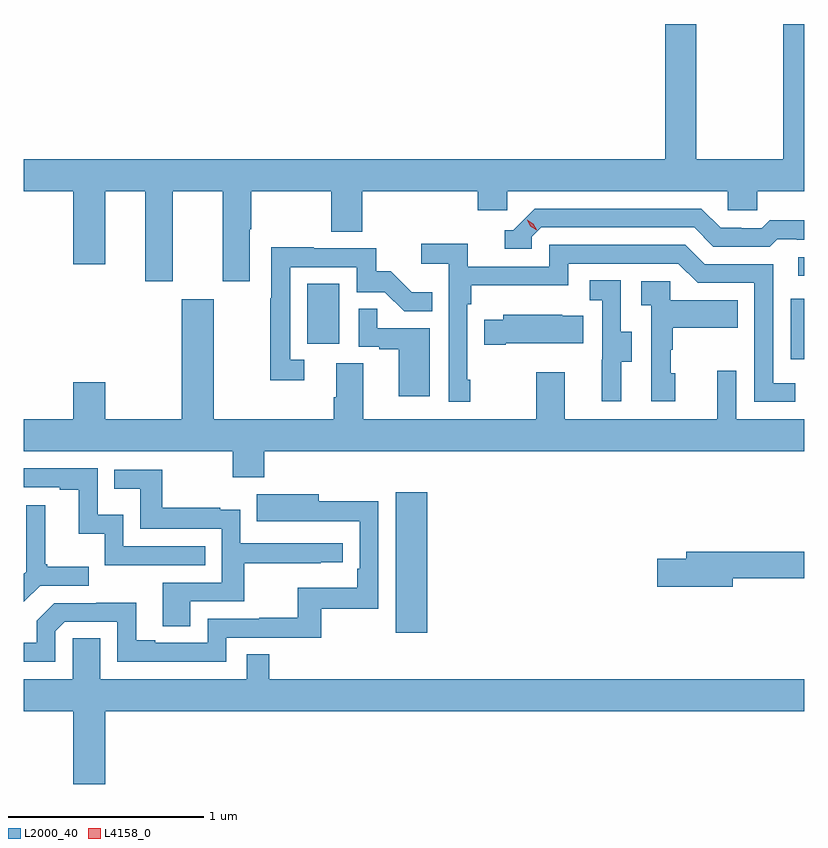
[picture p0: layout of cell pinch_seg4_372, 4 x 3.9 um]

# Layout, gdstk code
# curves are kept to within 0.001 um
import gdstk
lib = gdstk.Library(unit=1e-6, precision=1e-09)
def R(c, l, rs):  # rectangles x0, y0, x1, y1
    for r in rs: c.add(gdstk.rectangle(r[:2], r[2:], *l))
def P(c, l, *ps):  # polygons
    for p in ps: c.add(gdstk.Polygon(p, *l))
L2000_40 = (2000, 40)
L4158_0 = (4158, 0)

pinch_seg4_372 = lib.new_cell('pinch_seg4_372')
R(pinch_seg4_372, L2000_40, [(969.857,767.916,970.018,768.637), (971.88,769.32,971.95,769.63), (969.404,769.398,969.568,769.705), (971.919,769.746,971.95,769.842)])
P(pinch_seg4_372, L2000_40, [(968.713,770.18),(968.969,770.18),(968.969,769.719),(969.109,769.719),(969.109,769.984),(969.117,769.984),(969.117,770.18),(969.526,770.18),(969.526,769.972),(969.686,769.972),(969.686,770.18),(970.277,770.18),(970.277,770.082),(970.428,770.082),(970.428,770.18),(971.559,770.18),(971.559,770.082),(971.709,770.082),(971.709,770.18),(971.95,770.18),(971.95,771.037),(971.842,771.037),(971.842,770.344),(971.397,770.344),(971.397,771.037),(971.237,771.037),(971.237,770.344),(967.95,770.344),(967.95,770.18),(968.204,770.18),(968.204,769.806),(968.368,769.806),(968.368,770.18),(968.573,770.18),(968.573,769.719),(968.713,769.719)],
  [(970.554,769.947),(970.602,769.995),(971.385,769.995),(971.484,769.896),(971.773,769.896),(971.812,769.935),(971.911,769.935),(971.911,769.932),(971.95,769.932),(971.95,770.032),(971.773,770.032),(971.731,769.989),(971.628,769.989),(971.628,769.992),(971.521,769.992),(971.422,770.091),(970.569,770.091),(970.458,769.98),(970.415,769.98),(970.415,769.884),(970.554,769.884)],
  [(970.237,769.213),(970.224,769.213),(970.224,769.601),(970.244,769.601),(970.244,769.697),(970.74,769.697),(970.74,769.809),(971.304,769.809),(971.403,769.71),(971.694,769.71),(971.694,769.101),(971.903,769.101),(971.903,769.197),(971.79,769.197),(971.79,769.806),(971.44,769.806),(971.341,769.905),(970.644,769.905),(970.644,769.794),(970.226,769.794),(970.226,769.91),(969.987,769.91),(969.987,769.808),(970.128,769.808),(970.128,769.101),(970.237,769.101)],
  [(969.388,769.317),(969.315,769.317),(969.315,769.791),(969.657,769.791),(969.657,769.662),(969.801,769.662),(969.899,769.564),(970.043,769.564),(970.043,769.663),(969.939,769.663),(969.832,769.77),(969.756,769.77),(969.756,769.887),(969.437,769.887),(969.437,769.892),(969.219,769.892),(969.219,769.631),(969.214,769.631),(969.214,769.212),(969.388,769.212)],
  [(971.011,769.306),(971.065,769.306),(971.065,769.461),(971.01,769.461),(971.01,769.724),(970.851,769.724),(970.851,769.621),(970.914,769.621),(970.914,769.317),(970.913,769.317),(970.913,769.104),(971.011,769.104)],
  [(971.29,769.248),(971.265,769.248),(971.265,769.367),(971.275,769.367),(971.275,769.481),(971.609,769.481),(971.609,769.621),(971.262,769.621),(971.262,769.719),(971.115,769.719),(971.115,769.595),(971.166,769.595),(971.166,769.104),(971.29,769.104)],
  [(969.182,768.848),(971.95,768.848),(971.95,769.012),(971.601,769.012),(971.601,769.261),(971.504,769.261),(971.504,769.012),(970.723,769.012),(970.723,769.252),(970.576,769.252),(970.576,769.012),(969.691,769.012),(969.691,769.298),(969.551,769.298),(969.551,769.124),(969.539,769.124),(969.539,769.012),(968.923,769.012),(968.923,769.627),(968.759,769.627),(968.759,769.012),(968.368,769.012),(968.368,769.201),(968.204,769.201),(968.204,769.012),(967.95,769.012),(967.95,768.848),(969.022,768.848),(969.022,768.713),(969.182,768.713)],
  [(970.03,769.479),(969.761,769.479),(969.761,769.577),(969.666,769.577),(969.666,769.383),(969.773,769.383),(969.773,769.371),(969.872,769.371),(969.872,769.128),(970.03,769.128)],
  [(970.42,769.4),(970.817,769.4),(970.817,769.543),(970.709,769.543),(970.709,769.546),(970.407,769.546),(970.407,769.522),(970.309,769.522),(970.309,769.393),(970.42,769.393)],
  [(968.879,768.36),(968.46,768.36),(968.46,768.523),(968.328,768.523),(968.328,768.759),(967.95,768.759),(967.95,768.663),(968.135,768.663),(968.135,768.651),(968.231,768.651),(968.231,768.425),(968.364,768.425),(968.364,768.264),(968.879,768.264)],
  [(968.803,768.078),(969.08,768.078),(969.08,768.274),(969.473,768.274),(969.473,768.279),(969.586,768.279),(969.586,768.375),(969.06,768.375),(969.06,768.547),(968.957,768.547),(968.957,768.559),(968.659,768.559),(968.659,768.753),(968.413,768.753),(968.413,768.656),(968.548,768.656),(968.548,768.45),(968.964,768.45),(968.964,768.174),(968.663,768.174),(968.663,767.95),(968.803,767.95)],
  [(968.112,767.925),(968.16,767.973),(968.43,767.973),(968.43,767.769),(968.988,767.769),(968.988,767.892),(969.475,767.892),(969.475,768.039),(969.768,768.039),(969.768,768.59),(969.463,768.59),(969.463,768.628),(969.145,768.628),(969.145,768.488),(969.672,768.489),(969.672,768.244),(969.659,768.244),(969.659,768.148),(969.354,768.148),(969.354,767.993),(969.157,767.993),(969.157,767.988),(968.892,767.988),(968.892,767.865),(968.623,767.865),(968.623,767.878),(968.527,767.878),(968.527,768.071),(968.322,768.071),(968.322,768.069),(968.106,768.069),(968.016,767.979),(968.016,767.865),(967.95,767.865),(967.95,767.769),(968.112,767.769)],
  [(968.034,768.159),(968.284,768.159),(968.284,768.256),(968.071,768.256),(968.071,768.268),(968.059,768.268),(968.059,768.571),(967.962,768.571),(967.962,768.231),(967.95,768.219),(967.95,768.075)],
  [(971.584,768.196),(971.95,768.196),(971.95,768.332),(971.345,768.332),(971.345,768.296),(971.196,768.296),(971.196,768.154),(971.584,768.154)],
  [(968.368,767.516),(971.95,767.516),(971.95,767.68),(969.209,767.68),(969.209,767.807),(969.093,767.807),(969.093,767.68),(968.341,767.68),(968.341,767.888),(968.202,767.888),(968.202,767.68),(967.95,767.68),(967.95,767.516),(968.204,767.516),(968.204,767.142),(968.368,767.142)])
P(pinch_seg4_372, L4158_0, [(970.578,769.981),(970.547,770),(970.53,770.032),(970.53,770.033),(970.531,770.033),(970.562,770.014),(970.578,769.982),(970.578,769.981)])

lib.write_gds('pinch_seg4_372.gds')
